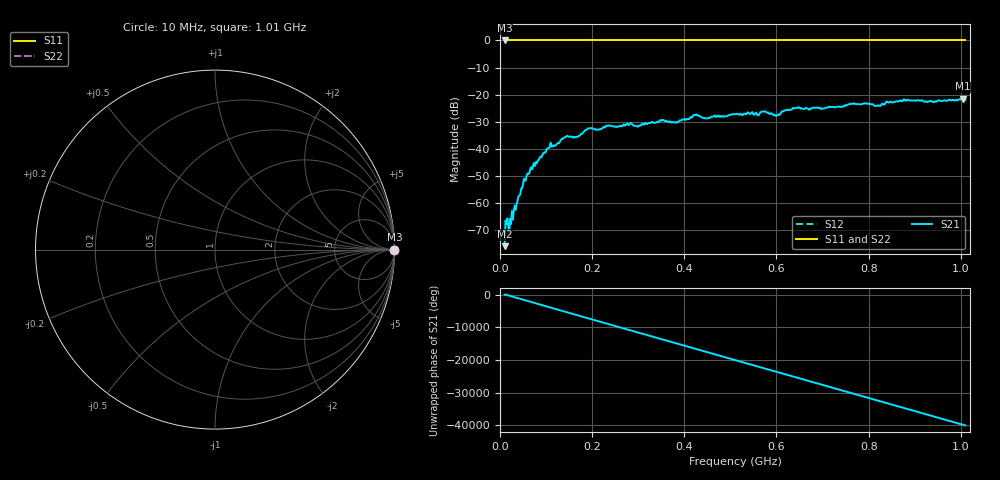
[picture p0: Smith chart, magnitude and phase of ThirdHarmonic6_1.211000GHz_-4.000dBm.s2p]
! 8/16/2025 12:37:05 PM
! C:\ANRITSUVNA\TEMP\TEMP.S2P
! CHANNEL.1
! TR.MEASUREMENT
! RAW.DATA
! RF.CORRECTION.OFF
! AVERAGING.OFF
! IF.BANDWIDTH: 5KHZ
! SWEEPTYPE:  FREQ.SWEEP(Linear)
! Reference Plane Port Info
! PORT:  PORT1  PORT2
! DISTANCE:  0  m  0  m
! TIME:  0  s  0  s
! PHASE.OFFSET:  0  deg.  0  deg.
! LOSS:  0  dB  0  dB
! REF.LOSS:  0  dB  0  dB
! REF.FREQ:  0  Hz  0  Hz
! Power Info
! POWER:  -20  dBm  -20  dBm
! EFF.POWER:  -20  dBm  -20  dBm
! SOURCE.ATTEN:  0  dB  0  dB
! TEST.ATTEN:  0  dB  0  dB
# GHZ S RI R 50.0
! FREQ.GHZ  S11RE  S11IM  S21RE  S21IM  S12RE  S12IM  S22RE  S22IM
!; PortSelection: Port_12
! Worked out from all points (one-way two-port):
!   501 points, 10 MHz to 1.01 GHz, reference 50 ohm
!   highest |S21| = -21.50 dB at 1.004 GHz (marker M1); lowest = -75.9 dB at 10 MHz (marker M2)
!   lowest |S11| = 0.0 dB at 10 MHz (marker M3)
!   |S11| at or under -10 dB: nowhere
!   |S22| runs from 0.0 to 0.0 dB; largest |S21 - S12| = 1.1
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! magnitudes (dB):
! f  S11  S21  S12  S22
! 10 MHz  0.0  -75.9  0.0  0.0
! 14 MHz  0.0  -67.7  0.0  0.0
! 24 MHz  0.0  -67.7  0.0  0.0
! 50 MHz  0.0  -53.0  0.0  0.0
! 70 MHz  0.0  -47.5  0.0  0.0
! 106 MHz  0.0  -39.7  0.0  0.0
! 142 MHz  0.0  -35.7  0.0  0.0
! 178 MHz  0.0  -34.4  0.0  0.0
! 194 MHz  0.0  -32.4  0.0  0.0
! 344 MHz  0.0  -30.1  0.0  0.0
! 382 MHz  0.0  -30.1  0.0  0.0
! 424 MHz  0.0  -27.5  0.0  0.0
! 450 MHz  0.0  -28.8  0.0  0.0
! 510 MHz  0.0  -27.2  0.0  0.0
! 572 MHz  0.0  -26.3  0.0  0.0
! 602 MHz  0.0  -27.4  0.0  0.0
! 640 MHz  0.0  -25.0  0.0  0.0
! 678 MHz  0.0  -24.9  0.0  0.0
! 822 MHz  0.0  -24.0  0.0  0.0
! 844 MHz  0.0  -22.9  0.0  0.0
! 1.004 GHz  0.0  -21.5  0.0  0.0
! 1.01 GHz  0.0  -21.9  0.0  0.0
